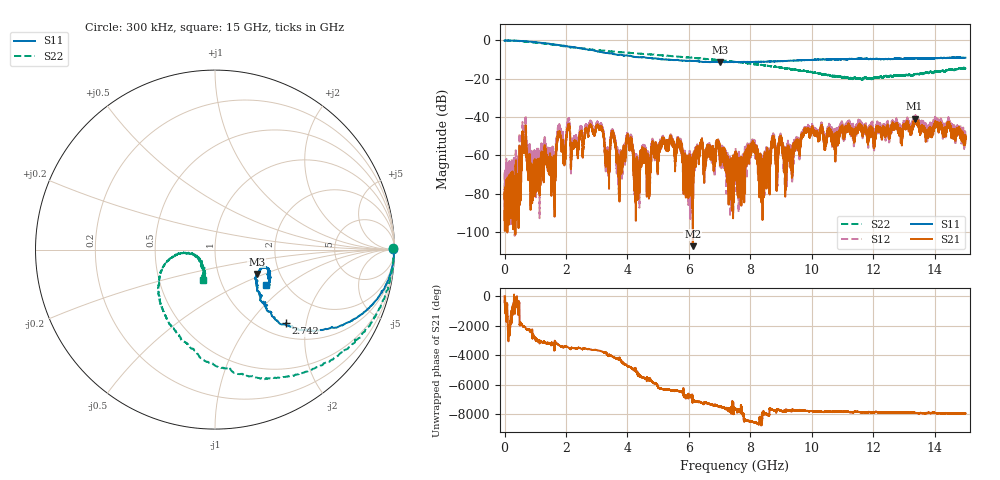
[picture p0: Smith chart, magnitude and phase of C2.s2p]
!Agilent Technologies,N5230C,SG49000117,A.08.50.07
!Agilent N5230C: A.08.50.07
!Date: Monday, December 11, 2023 22:57:40
!Correction: S11(Full 2 Port(1,2))
!S21(Full 2 Port(1,2))
!S12(Full 2 Port(1,2))
!S22(Full 2 Port(1,2))
!S2P File: Measurements: S11, S21, S12, S22:
# Hz S  RI  R 50
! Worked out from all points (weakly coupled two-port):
!   20001 points, 300 kHz to 15 GHz, reference 50 ohm
!   highest |S21| = -40.79 dB at 13.34 GHz (marker M1); lowest = -107.4 dB at 6.127 GHz (marker M2)
!   lowest |S11| = -11.4 dB at 7.004 GHz (marker M3), VSWR 1.74, Z = 76.3 - j22.4 ohm
!   |S11| at or under -10 dB: 5.334 GHz to 10.11 GHz (4.772 GHz wide, 61.8 % of centre); 10.14799 GHz to 10.1669 GHz (18.92 MHz wide, 0.186 % of centre); 10.24367 GHz to 10.28377 GHz (40.1 MHz wide, 0.391 % of centre) (the widest 3 of 29)
!   |S22| runs from -20.5 to 0.0 dB; largest |S21 - S12| = 0.0054
!   S11 on the Smith chart (normalised r, x): 300 kHz: open; 2.742 GHz: 1.27, -1.54; 15 GHz: 1.61, -0.74
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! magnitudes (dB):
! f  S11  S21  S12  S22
! 300 kHz  -0.1  -82.2  -68.8  -0.1
! 454.8 MHz  -0.2  -75.8  -67.1  -0.3
! 637.8 MHz  -0.4  -57.1  -51.8  -0.5
! 902.5 MHz  -0.7  -76.6  -73.0  -0.9
! 1.582 GHz  -2.1  -65.9  -58.7  -2.2
! 1.766 GHz  -2.4  -48.8  -46.2  -2.7
! 2.501 GHz  -4.2  -47.7  -45.1  -4.0
! 2.742 GHz  -4.9  -46.6  -44.1  -4.6
! 3.149 GHz  -6.0  -44.6  -44.0  -5.3
! 3.347 GHz  -6.6  -60.2  -58.4  -5.5
! 3.536 GHz  -7.1  -49.0  -47.1  -5.8
! 3.763 GHz  -7.4  -64.9  -64.9  -6.1
! 4.057 GHz  -8.1  -56.1  -54.4  -6.4
! 4.298 GHz  -8.7  -62.1  -62.7  -6.8
! 5 GHz  -9.6  -60.5  -58.0  -7.7
! 6.127 GHz  -10.7  -107.4  -71.0  -9.1
! 7.004 GHz  -11.4  -59.6  -62.2  -10.3
! 7.5 GHz  -11.2  -65.5  -62.9  -11.1
! 10 GHz  -10.1  -46.4  -46.5  -16.5
! 12.5 GHz  -9.6  -48.6  -47.3  -19.0
! 13.34 GHz  -9.3  -40.8  -41.5  -17.5
! 15 GHz  -9.1  -50.2  -52.9  -14.6
